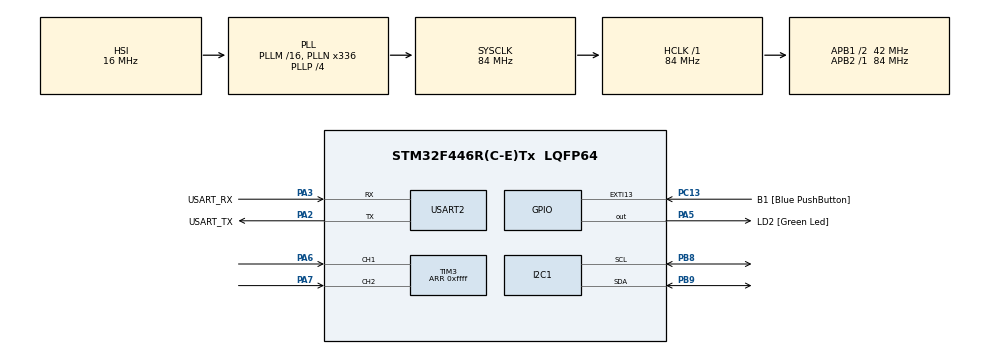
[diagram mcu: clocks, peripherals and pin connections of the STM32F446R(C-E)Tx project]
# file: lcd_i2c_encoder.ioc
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Mcu.Family=STM32F4
Mcu.Name=STM32F446R(C-E)Tx
Mcu.Package=LQFP64
NVIC.PriorityGroup=NVIC_PRIORITYGROUP_0
PA13.GPIO_Label=TMS
PA13.Mode=Serial_Wire
PA13.Signal=SYS_JTMS-SWDIO
PA14.GPIO_Label=TCK
PA14.Mode=Serial_Wire
PA14.Signal=SYS_JTCK-SWCLK
PA2.GPIO_Label=USART_TX
PA2.Mode=Asynchronous
PA2.Signal=USART2_TX
PA3.GPIO_Label=USART_RX
PA3.Mode=Asynchronous
PA3.Signal=USART2_RX
PA5.GPIO_Label=LD2 [Green Led]
PA5.GPIO_PuPd=GPIO_NOPULL
PA5.Signal=GPIO_Output
PA6.GPIO_PuPd=GPIO_PULLDOWN
PA6.Signal=S_TIM3_CH1
PA7.GPIO_PuPd=GPIO_PULLDOWN
PA7.Signal=S_TIM3_CH2
PB3.GPIO_Label=SWO
PB3.Signal=SYS_JTDO-SWO
PB8.Mode=I2C
PB8.Signal=I2C1_SCL
PB9.Mode=I2C
PB9.Signal=I2C1_SDA
PC13.GPIO_Label=B1 [Blue PushButton]
PC13.GPIO_ModeDefaultEXTI=GPIO_MODE_IT_FALLING
PC13.GPIO_PuPd=GPIO_NOPULL
PC13.Signal=GPXTI13
PC14-OSC32_IN.Mode=LSE-External-Oscillator
PC14-OSC32_IN.Signal=RCC_OSC32_IN
PC15-OSC32_OUT.Mode=LSE-External-Oscillator
PC15-OSC32_OUT.Signal=RCC_OSC32_OUT
PH0-OSC_IN.Mode=HSE-External-Oscillator
PH0-OSC_IN.Signal=RCC_OSC_IN
PH1-OSC_OUT.Mode=HSE-External-Oscillator
PH1-OSC_OUT.Signal=RCC_OSC_OUT
ProjectManager.HeapSize=0x200
ProjectManager.StackSize=0x400
ProjectManager.TargetToolchain=TrueSTUDIO
RCC.48MHZClocksFreq_Value=84000000
RCC.AHBFreq_Value=84000000
RCC.APB1CLKDivider=RCC_HCLK_DIV2
RCC.APB1Freq_Value=42000000
RCC.APB1TimFreq_Value=84000000
RCC.APB2Freq_Value=84000000
RCC.APB2TimFreq_Value=84000000
RCC.CortexFreq_Value=84000000
RCC.FLatency-AdvancedSettings=FLASH_LATENCY_2
RCC.HCLKFreq_Value=84000000
RCC.HSE_VALUE=8000000
RCC.HSI_VALUE=16000000
RCC.PLLN=336
RCC.PLLP=RCC_PLLP_DIV4
RCC.SYSCLKFreq_VALUE=84000000
RCC.SYSCLKSource=RCC_SYSCLKSOURCE_PLLCLK
RCC.USBFreq_Value=168000000
RCC.VCOOutputFreq_Value=336000000
SH.S_TIM3_CH1.0=TIM3_CH1,Encoder_Interface
SH.S_TIM3_CH2.0=TIM3_CH2,Encoder_Interface
TIM3.EncoderMode=TIM_ENCODERMODE_TI12
TIM3.IC1Filter=5
TIM3.IC2Filter=5
TIM3.Period=0xffff
USART2.VirtualMode=VM_ASYNC
board=NUCLEO-F446RE

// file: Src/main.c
/* USER CODE BEGIN Header */
/**
  ******************************************************************************
  * @file           : main.c
  * @brief          : Main program body
  ******************************************************************************
  * @attention
  *
  * <h2><center>&copy; Copyright (c) 2019 STMicroelectronics.
  * All rights reserved.</center></h2>
  *
  * This software component is licensed by ST under BSD 3-Clause license,
  * the "License"; You may not use this file except in compliance with the
  * License. You may obtain a copy of the License at:
  *                        opensource.org/licenses/BSD-3-Clause
  *
  ******************************************************************************
  */
/* USER CODE END Header */

#include "main.h"

I2C_HandleTypeDef hi2c1;

TIM_HandleTypeDef htim3;

UART_HandleTypeDef huart2;

/* USER CODE BEGIN PV */
int i;
/* USER CODE END PV */

void SystemClock_Config(void);
static void MX_GPIO_Init(void);
static void MX_I2C1_Init(void);
static void MX_USART2_UART_Init(void);
static void MX_TIM3_Init(void);

/* USER CODE BEGIN 0 */
void lcd_send_cmd (char cmd)
{
  char data_u, data_l;
	uint8_t data_t[4];
	data_u = cmd&0xf0;
	data_l = (cmd<<4)&0xf0;
	data_t[0] = data_u|0x04;  //en=1, rs=0
	data_t[1] = data_u;  //en=0, rs=0
	data_t[2] = data_l|0x04;  //en=1, rs=0
	data_t[3] = data_l;  //en=0, rs=0
	HAL_I2C_Master_Transmit (&hi2c1, 0x4E,(uint8_t *) data_t, 4, 100);
}

void lcd_send_data (char data)
{
	char data_u, data_l;
	uint8_t data_t[4];
	data_u = data&0xf0;
	data_l = (data<<4)&0xf0;
	data_t[0] = data_u|0x05;  //en=1, rs=0
	data_t[1] = data_u|0x01;  //en=0, rs=0
	data_t[2] = data_l|0x05;  //en=1, rs=0
	data_t[3] = data_l|0x01;  //en=0, rs=0
	HAL_I2C_Master_Transmit (&hi2c1, 0x4E,(uint8_t *) data_t, 4, 100);
}

void lcd_init (void)
{
	lcd_send_cmd (0x02);
	lcd_send_cmd (0x28);
	lcd_send_cmd (0x0c);
	lcd_send_cmd (0x80);
}

void lcd_send_string (char *str)
{
	while (*str) lcd_send_data (*str++);
}
/* USER CODE END 0 */

int main(void)
{

  /* MCU Configuration--------------------------------------------------------*/

  /* Reset of all peripherals, Initializes the Flash interface and the Systick. */
  HAL_Init();

  /* Configure the system clock */
  SystemClock_Config();

  /* Initialize all configured peripherals */
  MX_GPIO_Init();
  MX_I2C1_Init();
  MX_USART2_UART_Init();
  MX_TIM3_Init();
  /* USER CODE BEGIN 2 */
  HAL_TIM_Encoder_Start(&htim3,TIM_CHANNEL_ALL);
  lcd_init ();

  /* USER CODE END 2 */

  /* Infinite loop */
  /* USER CODE BEGIN WHILE */
  while (1)
  {	i = TIM3->CNT;

    /* USER CODE END WHILE */

  }
}

void SystemClock_Config(void)
{
  RCC_OscInitTypeDef RCC_OscInitStruct = {0};
  RCC_ClkInitTypeDef RCC_ClkInitStruct = {0};

  /** Configure the main internal regulator output voltage
  */
  __HAL_RCC_PWR_CLK_ENABLE();
  __HAL_PWR_VOLTAGESCALING_CONFIG(PWR_REGULATOR_VOLTAGE_SCALE3);
  /** Initializes the CPU, AHB and APB busses clocks
  */
  RCC_OscInitStruct.OscillatorType = RCC_OSCILLATORTYPE_HSI;
  RCC_OscInitStruct.HSIState = RCC_HSI_ON;
  RCC_OscInitStruct.HSICalibrationValue = RCC_HSICALIBRATION_DEFAULT;
  RCC_OscInitStruct.PLL.PLLState = RCC_PLL_ON;
  RCC_OscInitStruct.PLL.PLLSource = RCC_PLLSOURCE_HSI;
  RCC_OscInitStruct.PLL.PLLM = 16;
  RCC_OscInitStruct.PLL.PLLN = 336;
  RCC_OscInitStruct.PLL.PLLP = RCC_PLLP_DIV4;
  RCC_OscInitStruct.PLL.PLLQ = 2;
  RCC_OscInitStruct.PLL.PLLR = 2;
  if (HAL_RCC_OscConfig(&RCC_OscInitStruct) != HAL_OK)
  {
    Error_Handler();
  }
  /** Initializes the CPU, AHB and APB busses clocks
  */
  RCC_ClkInitStruct.ClockType = RCC_CLOCKTYPE_HCLK|RCC_CLOCKTYPE_SYSCLK
                              |RCC_CLOCKTYPE_PCLK1|RCC_CLOCKTYPE_PCLK2;
  RCC_ClkInitStruct.SYSCLKSource = RCC_SYSCLKSOURCE_PLLCLK;
  RCC_ClkInitStruct.AHBCLKDivider = RCC_SYSCLK_DIV1;
  RCC_ClkInitStruct.APB1CLKDivider = RCC_HCLK_DIV2;
  RCC_ClkInitStruct.APB2CLKDivider = RCC_HCLK_DIV1;

  if (HAL_RCC_ClockConfig(&RCC_ClkInitStruct, FLASH_LATENCY_2) != HAL_OK)
  {
    Error_Handler();
  }
}

static void MX_I2C1_Init(void)
{

  hi2c1.Instance = I2C1;
  hi2c1.Init.ClockSpeed = 100000;
  hi2c1.Init.DutyCycle = I2C_DUTYCYCLE_2;
  hi2c1.Init.OwnAddress1 = 0;
  hi2c1.Init.AddressingMode = I2C_ADDRESSINGMODE_7BIT;
  hi2c1.Init.DualAddressMode = I2C_DUALADDRESS_DISABLE;
  hi2c1.Init.OwnAddress2 = 0;
  hi2c1.Init.GeneralCallMode = I2C_GENERALCALL_DISABLE;
  hi2c1.Init.NoStretchMode = I2C_NOSTRETCH_DISABLE;
  if (HAL_I2C_Init(&hi2c1) != HAL_OK)
  {
    Error_Handler();
  }

}

static void MX_TIM3_Init(void)
{

  TIM_Encoder_InitTypeDef sConfig = {0};
  TIM_MasterConfigTypeDef sMasterConfig = {0};

  htim3.Instance = TIM3;
  htim3.Init.Prescaler = 0;
  htim3.Init.CounterMode = TIM_COUNTERMODE_UP;
  htim3.Init.Period = 0xffff;
  htim3.Init.ClockDivision = TIM_CLOCKDIVISION_DIV1;
  htim3.Init.AutoReloadPreload = TIM_AUTORELOAD_PRELOAD_DISABLE;
  sConfig.EncoderMode = TIM_ENCODERMODE_TI12;
  sConfig.IC1Polarity = TIM_ICPOLARITY_RISING;
  sConfig.IC1Selection = TIM_ICSELECTION_DIRECTTI;
  sConfig.IC1Prescaler = TIM_ICPSC_DIV1;
  sConfig.IC1Filter = 5;
  sConfig.IC2Polarity = TIM_ICPOLARITY_RISING;
  sConfig.IC2Selection = TIM_ICSELECTION_DIRECTTI;
  sConfig.IC2Prescaler = TIM_ICPSC_DIV1;
  sConfig.IC2Filter = 5;
  if (HAL_TIM_Encoder_Init(&htim3, &sConfig) != HAL_OK)
  {
    Error_Handler();
  }
  sMasterConfig.MasterOutputTrigger = TIM_TRGO_RESET;
  sMasterConfig.MasterSlaveMode = TIM_MASTERSLAVEMODE_DISABLE;
  if (HAL_TIMEx_MasterConfigSynchronization(&htim3, &sMasterConfig) != HAL_OK)
  {
    Error_Handler();
  }

}

static void MX_USART2_UART_Init(void)
{

  huart2.Instance = USART2;
  huart2.Init.BaudRate = 115200;
  huart2.Init.WordLength = UART_WORDLENGTH_8B;
  huart2.Init.StopBits = UART_STOPBITS_1;
  huart2.Init.Parity = UART_PARITY_NONE;
  huart2.Init.Mode = UART_MODE_TX_RX;
  huart2.Init.HwFlowCtl = UART_HWCONTROL_NONE;
  huart2.Init.OverSampling = UART_OVERSAMPLING_16;
  if (HAL_UART_Init(&huart2) != HAL_OK)
  {
    Error_Handler();
  }

}

static void MX_GPIO_Init(void)
{
  GPIO_InitTypeDef GPIO_InitStruct = {0};

  /* GPIO Ports Clock Enable */
  __HAL_RCC_GPIOC_CLK_ENABLE();
  __HAL_RCC_GPIOH_CLK_ENABLE();
  __HAL_RCC_GPIOA_CLK_ENABLE();
  __HAL_RCC_GPIOB_CLK_ENABLE();

  /*Configure GPIO pin Output Level */
  HAL_GPIO_WritePin(LD2_GPIO_Port, LD2_Pin, GPIO_PIN_RESET);

  /*Configure GPIO pin : B1_Pin */
  GPIO_InitStruct.Pin = B1_Pin;
  GPIO_InitStruct.Mode = GPIO_MODE_IT_FALLING;
  GPIO_InitStruct.Pull = GPIO_NOPULL;
  HAL_GPIO_Init(B1_GPIO_Port, &GPIO_InitStruct);

  /*Configure GPIO pin : LD2_Pin */
  GPIO_InitStruct.Pin = LD2_Pin;
  GPIO_InitStruct.Mode = GPIO_MODE_OUTPUT_PP;
  GPIO_InitStruct.Pull = GPIO_NOPULL;
  GPIO_InitStruct.Speed = GPIO_SPEED_FREQ_LOW;
  HAL_GPIO_Init(LD2_GPIO_Port, &GPIO_InitStruct);

}

void Error_Handler(void)
{
}

/************************ (C) COPYRIGHT STMicroelectronics *****END OF FILE****/
